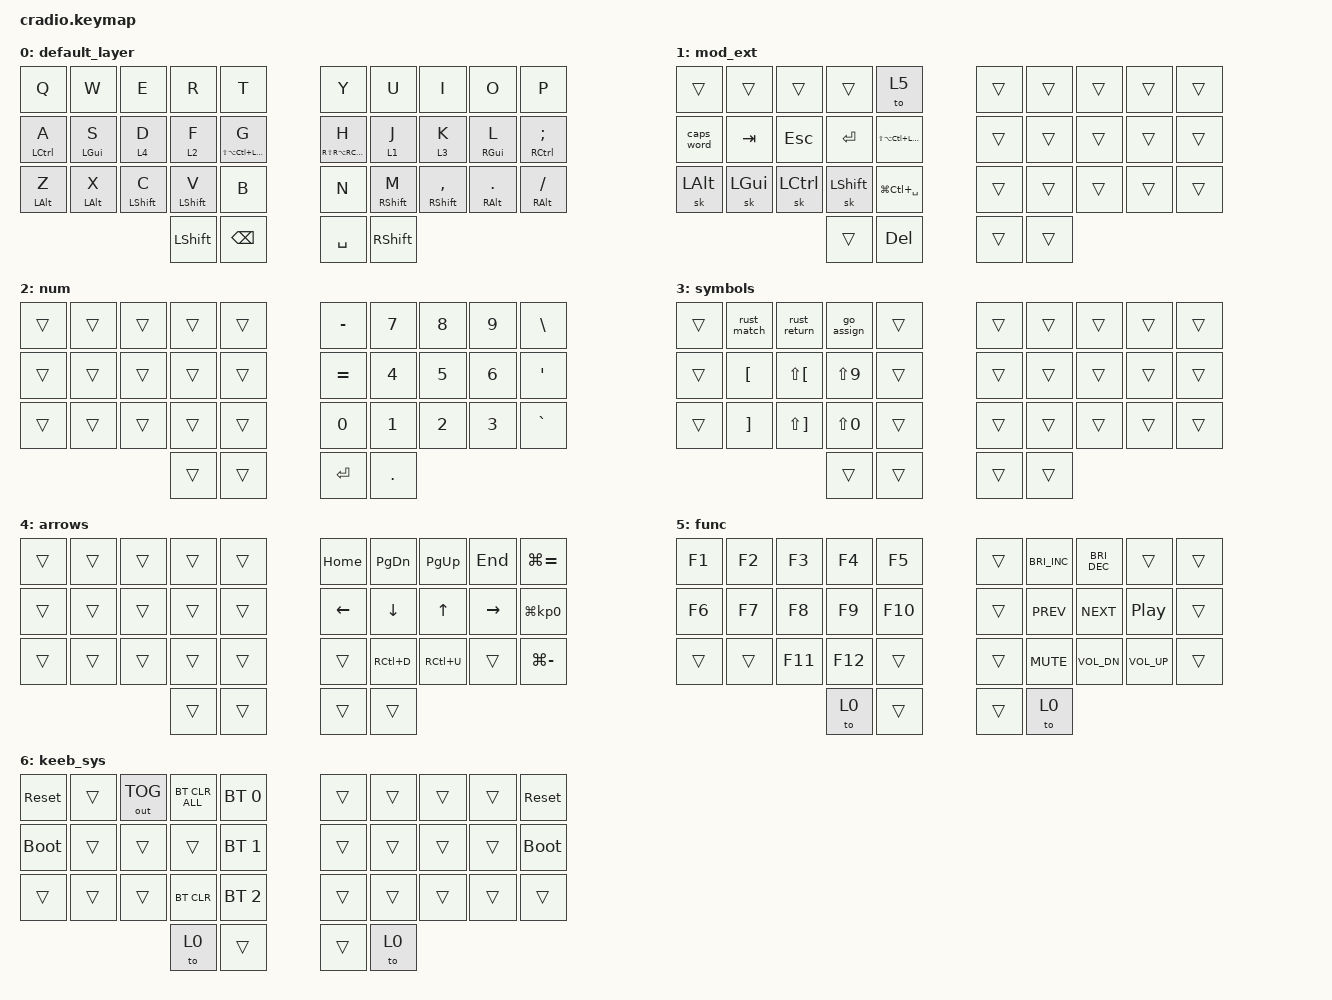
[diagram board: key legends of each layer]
// Copyright (c) 2022 The ZMK Contributors
// SPDX-License-Identifier: MIT

#include <behaviors.dtsi>
#include <dt-bindings/zmk/bt.h>
#include <dt-bindings/zmk/keys.h>
#include <dt-bindings/zmk/outputs.h>

// Home row mods macro
// #define HRML(k1,k2,k3,k4) &ht LSHFT k1  &ht LALT k2  &ht LCTRL k3  &ht LGUI k4
// #define HRMR(k1,k2,k3,k4) &ht RGUI k1  &ht RCTRL k2  &ht RALT k3  &ht RSHFT k4

&lt {
    flavor = "balanced";
    quick-tap-ms = <200>;
};

&mt {
    flavor = "balanced";
    quick-tap-ms = <200>;
};

/ {
    behaviors {
        mtr: hold_tap_right {
            compatible = "zmk,behavior-hold-tap";
            #binding-cells = <2>;
            flavor = "balanced";
            tapping-term-ms = <175>;
            quick-tap-ms = <200>;
            bindings = <&kp>, <&kp>;

            hold-trigger-key-positions = <30 31 32 33 0 1 2 3 4 10 11 12 13 14 20 21 22 23 24>;
        };

        ltr: layer_tap_right {
            compatible = "zmk,behavior-hold-tap";
            #binding-cells = <2>;
            flavor = "balanced";
            tapping-term-ms = <175>;
            quick-tap-ms = <200>;
            bindings = <&mo>, <&kp>;

            hold-trigger-key-positions = <30 31 32 33 0 1 2 3 4 10 11 12 13 14 20 21 22 23 24>;
        };

        mtl: mod_tap_left {
            compatible = "zmk,behavior-hold-tap";
            #binding-cells = <2>;
            flavor = "balanced";
            tapping-term-ms = <175>;
            quick-tap-ms = <200>;
            bindings = <&kp>, <&kp>;

            hold-trigger-key-positions = <30 31 32 33 5 6 7 8 9 15 16 17 18 19 25 26 27 28 29>;
        };

        ltl: layer_tap_left {
            compatible = "zmk,behavior-hold-tap";
            #binding-cells = <2>;
            flavor = "balanced";
            tapping-term-ms = <175>;
            quick-tap-ms = <200>;
            bindings = <&mo>, <&kp>;

            hold-trigger-key-positions = <30 31 32 33 5 6 7 8 9 15 16 17 18 19 25 26 27 28 29>;
        };
    };

    conditional_layers { compatible = "zmk,conditional-layers"; };

    macros {
        go_assign: go_assign {
            compatible = "zmk,behavior-macro";
            #binding-cells = <0>;
            bindings = <&kp COLON &kp EQUAL>;
            label = "GO_ASSIGN";
        };

        rust_return: rust_return {
            compatible = "zmk,behavior-macro";
            #binding-cells = <0>;
            bindings = <&kp MINUS &kp LS(PERIOD)>;
            label = "RUST_RETURN";
        };

        rust_match: rust_match {
            compatible = "zmk,behavior-macro";
            #binding-cells = <0>;
            bindings = <&kp EQUAL &kp LS(PERIOD)>;
            label = "RUST_MATCH";
        };
    };

    combos {
        compatible = "zmk,combos";

        keeb_sys {
            bindings = <&to 6>;
            key-positions = <2 3 6 7>;
        };

        tab-chord {
            bindings = <&kp TAB>;
            key-positions = <16 18>;
        };

        escape-chord {
            bindings = <&kp ESCAPE>;
            key-positions = <13 12>;
        };

        delete-chord {
            bindings = <&kp DEL>;
            key-positions = <13 11>;
        };

        return-chord {
            bindings = <&kp RET>;
            key-positions = <16 19>;
        };

        return2-chord {
            bindings = <&kp RET>;
            key-positions = <16 17>;
        };
    };

    keymap {
        compatible = "zmk,keymap";

        default_layer {
            bindings = <
  &kp Q            &kp W            &kp E         &kp R         &kp T                      &kp Y                    &kp U         &kp I             &kp O               &kp P
  &mtl LCTRL A     &mtl LGUI S      &ltl 4 D      &ltl 2 F      &mtl LS(LA(LC(LGUI))) G    &mtr RS(RA(RC(RGUI))) H  &ltr 1 J      &ltr 3 K          &mtr RGUI L         &mtr RCTRL SEMICOLON
  &mtl LEFT_ALT Z  &mtl LEFT_ALT X  &mtl LSHFT C  &mtl LSHFT V  &kp B                      &kp N                    &mtr RSHFT M  &mtr RSHFT COMMA  &mtr RIGHT_ALT DOT  &mtr RIGHT_ALT FSLH
                                                  &kp LSHFT     &kp BACKSPACE              &kp SPACE                &kp RSHFT
            >;
        };

        mod_ext {
            bindings = <
  &trans      &trans    &trans      &trans     &to 5                   &trans  &trans  &trans  &trans  &trans
  &caps_word  &kp TAB   &kp ESCAPE  &kp ENTER  &kp LS(LA(LC(LGUI)))    &trans  &trans  &trans  &trans  &trans
  &sk LALT    &sk LGUI  &sk LCTRL   &sk LSHFT  &kp LG(LC(SPACE))       &trans  &trans  &trans  &trans  &trans
                                    &trans     &kp DELETE              &trans  &trans
            >;
        };

        num {
            bindings = <
  &trans  &trans  &trans  &trans  &trans    &kp MINUS  &kp N7      &kp N8  &kp N9  &kp BACKSLASH
  &trans  &trans  &trans  &trans  &trans    &kp EQUAL  &kp N4      &kp N5  &kp N6  &kp SINGLE_QUOTE
  &trans  &trans  &trans  &trans  &trans    &kp N0     &kp N1      &kp N2  &kp N3  &kp GRAVE
                          &trans  &trans    &kp ENTER  &kp PERIOD
            >;
        };

        symbols {
            bindings = <
  &trans  &rust_match        &rust_return           &go_assign  &trans    &trans  &trans  &trans  &trans  &trans
  &trans  &kp LEFT_BRACKET   &kp LS(LEFT_BRACKET)   &kp LS(N9)  &trans    &trans  &trans  &trans  &trans  &trans
  &trans  &kp RIGHT_BRACKET  &kp LS(RIGHT_BRACKET)  &kp LS(N0)  &trans    &trans  &trans  &trans  &trans  &trans
                                                    &trans      &trans    &trans  &trans
            >;
        };

        arrows {
            bindings = <
  &trans  &trans  &trans  &trans  &trans    &kp HOME  &kp PAGE_DOWN  &kp PG_UP  &kp END    &kp LG(EQUAL)
  &trans  &trans  &trans  &trans  &trans    &kp LEFT  &kp DOWN       &kp UP     &kp RIGHT  &kp LG(KP_NUMBER_0)
  &trans  &trans  &trans  &trans  &trans    &trans    &kp RC(D)      &kp RC(U)  &trans     &kp LG(MINUS)
                          &trans  &trans    &trans    &trans
            >;
        };

        func {
            bindings = <
  &kp F1  &kp F2  &kp F3   &kp F4   &kp F5     &trans  &kp C_BRIGHTNESS_INC  &kp C_BRI_DEC  &trans        &trans
  &kp F6  &kp F7  &kp F8   &kp F9   &kp F10    &trans  &kp C_PREV            &kp C_NEXT     &kp C_PP      &trans
  &trans  &trans  &kp F11  &kp F12  &trans     &trans  &kp C_MUTE            &kp C_VOL_DN   &kp C_VOL_UP  &trans
                           &to 0    &trans     &trans  &to 0
            >;
        };

        keeb_sys {
            bindings = <
  &sys_reset   &trans  &out OUT_TOG  &bt BT_CLR_ALL  &bt BT_SEL 0    &trans  &trans  &trans  &trans  &sys_reset
  &bootloader  &trans  &trans        &trans          &bt BT_SEL 1    &trans  &trans  &trans  &trans  &bootloader
  &trans       &trans  &trans        &bt BT_CLR      &bt BT_SEL 2    &trans  &trans  &trans  &trans  &trans
                                     &to 0           &trans          &trans  &to 0
            >;
        };
    };
};
